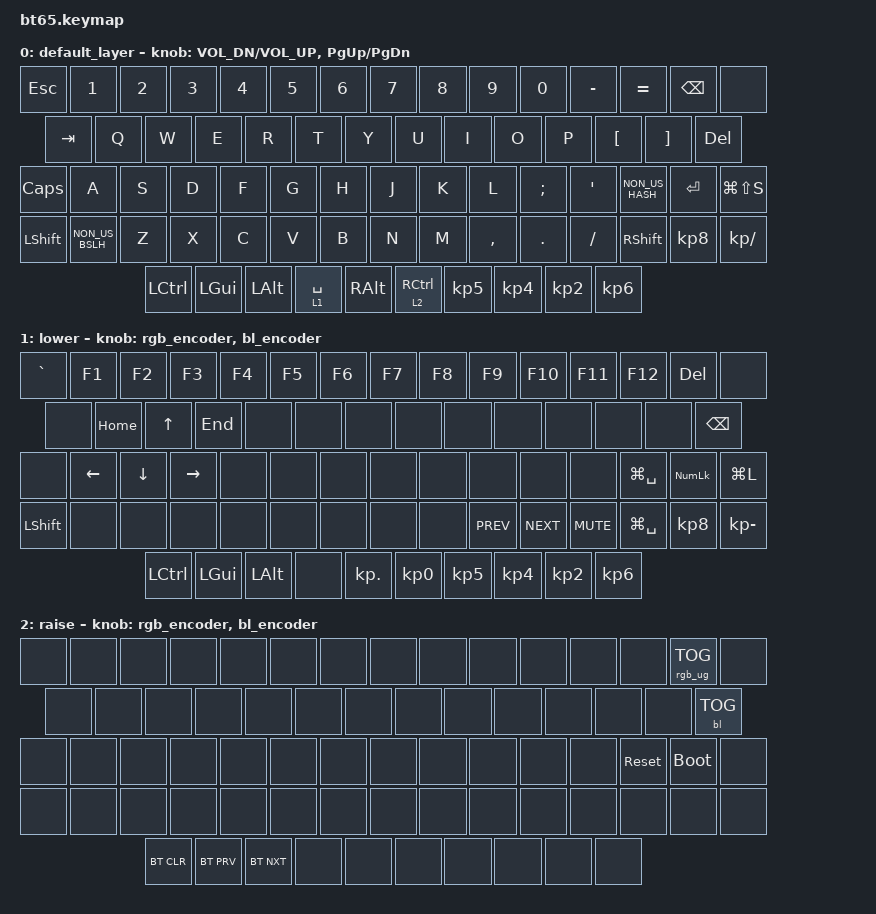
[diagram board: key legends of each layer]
#include <behaviors.dtsi>
#include <dt-bindings/zmk/keys.h>
#include <dt-bindings/zmk/bt.h>
#include <dt-bindings/zmk/rgb.h>
#include <dt-bindings/zmk/backlight.h>
#include <dt-bindings/zmk/ext_power.h>
#define DEFAULT 0
#define LOWER   1
#define RAISE   2

&lt {
    tapping-term-ms = <200>;
};

/ {

    behaviors {
	 bl_encoder: bl_encoder {
	     compatible = "zmk,behavior-sensor-rotate";
	     label = "BL_ENCODER";
	     #sensor-binding-cells = <0>;
	     bindings = <&bl BL_DEC>, <&bl BL_INC>;
         };
         rgb_encoder: rgb_encoder {
	     compatible = "zmk,behavior-sensor-rotate";
	     label = "RGB_ENCODER";
	     #sensor-binding-cells = <0>;
	     bindings = <&rgb_ug RGB_HUI>, <&rgb_ug RGB_HUD>;
         };
   };
    
    keymap {
        compatible = "zmk,keymap";
        default_layer {
            // ╭─────┬─────┬─────┬─────┬─────┬─────┬─────┬─────┬─────┬─────┬─────┬─────┬─────┬───────┬────────────╮
            // | ESC |  1  |  2  |  3  |  4  |  5  |  6  |  7  |  8  |  9  |  0  |  -  |  =  | BKSP  |    LANG    |
            // ├─────┴┬────┴┬────┴┬────┴┬────┴┬────┴┬────┴┬────┴┬────┴┬────┴┬────┴┬────┴┬────┴╭───────╮───────────┤
            // | TAB  |  Q  |  W  |  E  |  R  |  T  |  Y  |  U  |  I  |  O  |  P  |  [  |  ]  | ENTER |    DEL    |
            // ├──────┴┬────┴┬────┴┬────┴┬────┴┬────┴┬────┴┬────┴┬────┴┬────┴┬────┴┬────┴┬────╰┬───╮  ├───────────┤
            // | CAPS  |  A  |  S  |  D  |  F  |  G  |  H  |  J  |  K  |  L  |  ;  |  '  |  @  | # |  |   PRINT   |
            // ├──────┬┴────┬┴────┬┴────┬┴────┬┴────┬┴────┬┴────┬┴────┬┴────┬┴────┬┴────┬┴─────┴──┬╰──╯─┬─────────┤
            // |SHIFT |  \  |  Z  |  X  |  C  |  V  |  B  |  N  |  M  |  ,  |  .  |  /  |  SHIFT  |  UP |CHANGE_cl|
            // ├──────┼─────┴┬────┴─┬───┴─────┴─────┴─────┴─────┴─────┴──┬──┴───┬─┴────┬┴─────┬───┴─┬───┴──┬──────┤
            // | CTRL | WIN  |  ALT |                SPACE               | ALT  | CTRL |CLICK |LEFT | DOWN |RIGHT |
            // ╰──────┴──────┴──────┴────────────────────────────────────┴──────┴──────┴──────┴─────┴──────┴──────╯
            bindings = <
                &kp ESC  &kp N1  &kp N2  &kp N3  &kp N4  &kp N5  &kp N6  &kp N7  &kp N8  &kp N9  &kp N0  &kp MINUS  &kp EQUAL  &kp BSPC  &none
		&kp TAB  &kp Q  &kp W  &kp E  &kp R  &kp T  &kp Y  &kp U  &kp I  &kp O  &kp P  &kp LBKT  &kp RBKT  &kp DEL
		&kp CLCK  &kp A  &kp S  &kp D  &kp F  &kp G  &kp H  &kp J  &kp K  &kp L  &kp SEMI  &kp SQT  &kp NON_US_HASH  &kp RET  &kp LG(LS(S))
		&kp LSHFT  &kp NON_US_BSLH  &kp Z  &kp X  &kp C  &kp V  &kp B  &kp N  &kp M  &kp COMMA  &kp DOT  &kp FSLH  &kp RSHIFT  &kp KP_N8  &kp KP_SLASH
		&kp LCTRL  &kp LGUI  &kp LALT           &lt 1 SPACE          &kp RALT  &lt 2 RCTRL &kp KP_N5  &kp KP_N4  &kp KP_N2  &kp KP_N6
            >;
            sensor-bindings = <&inc_dec_kp C_VOL_DN C_VOL_UP &inc_dec_kp PG_UP PG_DN>;
        };
	lower {
            bindings = <  
                &kp GRAVE  &kp F1  &kp F2  &kp F3  &kp F4  &kp F5  &kp F6  &kp F7  &kp F8  &kp F9  &kp F10  &kp F11  &kp F12  &kp DEL  &none
		&none  &kp HOME  &kp UP  &kp END  &none  &none  &none  &none  &none  &none  &none  &none  &none  &kp BSPC
		&none  &kp LEFT  &kp DOWN  &kp RIGHT  &none  &none  &none  &none  &none  &none  &none  &none  &kp LG(SPACE)  &kp KP_NUM  &kp LG(L)
		&kp LSHFT  &none  &none  &none  &none  &none  &none  &none  &none  &kp C_PREV  &kp C_NEXT  &kp C_MUTE  &kp LG(SPACE)  &kp KP_N8  &kp KP_MINUS
		&kp LCTRL  &kp LGUI  &kp LALT            &none                     &kp KP_DOT  &kp KP_N0  &kp KP_N5  &kp KP_N4 &kp KP_N2  &kp KP_N6
            >;
            sensor-bindings = <&rgb_encoder &bl_encoder>;
        };
        raise {
            bindings = <  
                &none  &none  &none  &none  &none  &none  &none  &none  &none  &none  &none  &none  &none  &rgb_ug RGB_TOG  &none
		&none  &none  &none  &none  &none  &none  &none  &none  &none  &none  &none  &none  &none  &bl BL_TOG
		&none  &none  &none  &none  &none  &none  &none  &none  &none  &none  &none  &none  &sys_reset &bootloader  &none
		&none  &none  &none  &none  &none  &none  &none  &none  &none  &none  &none  &none  &none  &none  &none
		&bt BT_CLR  &bt BT_PRV  &bt BT_NXT        &none                &none  &none  &none  &none  &none  &none
            >;
            sensor-bindings = <&rgb_encoder &bl_encoder>;
        };
    };
};
